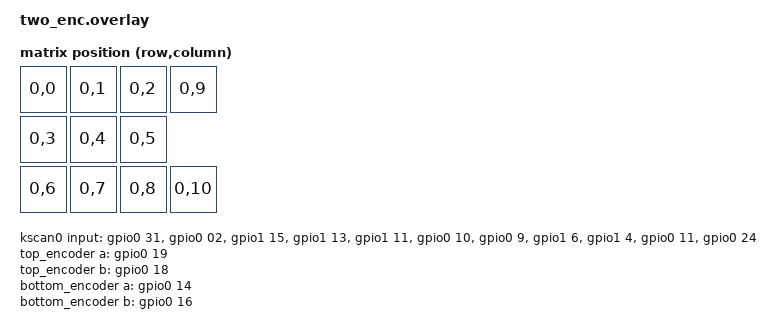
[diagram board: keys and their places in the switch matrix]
#include <dt-bindings/zmk/matrix_transform.h>
#include "two_enc-layouts.dtsi"

&thermalpad_physical_layout {
    transform = <&default_transform>;
};

/ {
    chosen {
        zmk,kscan = &kscan0;
        zmk,physical-layout = &thermalpad_physical_layout;
    };

    kscan0: kscan {
        compatible = "zmk,kscan-gpio-direct";
        wakeup-source;
        input-gpios
            = <&gpio0 31 (GPIO_ACTIVE_LOW | GPIO_PULL_UP)>
            , <&gpio0 02 (GPIO_ACTIVE_LOW | GPIO_PULL_UP)>
            , <&gpio1 15 (GPIO_ACTIVE_LOW | GPIO_PULL_UP)>
            , <&gpio1 13 (GPIO_ACTIVE_LOW | GPIO_PULL_UP)>
            , <&gpio1 11 (GPIO_ACTIVE_LOW | GPIO_PULL_UP)>
            , <&gpio0 10 (GPIO_ACTIVE_LOW | GPIO_PULL_UP)>
            , <&gpio0 9 (GPIO_ACTIVE_LOW | GPIO_PULL_UP)>
            , <&gpio1 6 (GPIO_ACTIVE_LOW | GPIO_PULL_UP)>
            , <&gpio1 4 (GPIO_ACTIVE_LOW | GPIO_PULL_UP)>
            , <&gpio0 11 (GPIO_ACTIVE_LOW | GPIO_PULL_UP)>
            , <&gpio0 24 (GPIO_ACTIVE_LOW | GPIO_PULL_UP)>
            ;
    };

    default_transform: keymap_transform0 {
        compatible = "zmk,matrix-transform";
        columns = <11>;
        rows = <1>;
        map = <
            RC(0,0) RC(0,1) RC(0,2) RC(0,9)
            RC(0,3) RC(0,4) RC(0,5)
            RC(0,6) RC(0,7) RC(0,8) RC(0,10)
        >;
    };

    top_encoder: encoder_top {
        compatible = "alps,ec11";
        a-gpios = <&gpio0 19 (GPIO_ACTIVE_HIGH | GPIO_PULL_UP)>;
        b-gpios = <&gpio0 18 (GPIO_ACTIVE_HIGH | GPIO_PULL_UP)>;
        steps = <80>;
        status = "okay";
    };
    bottom_encoder: encoder_bottom {
        compatible = "alps,ec11";
        a-gpios = <&gpio0 14 (GPIO_ACTIVE_HIGH | GPIO_PULL_UP)>;
        b-gpios = <&gpio0 16 (GPIO_ACTIVE_HIGH | GPIO_PULL_UP)>;
        steps = <80>;
        status = "okay";
    };
    sensors: sensors {
        compatible = "zmk,keymap-sensors";
        sensors = <&top_encoder &bottom_encoder>;
        triggers-per-rotation = <20>;
    };
};
